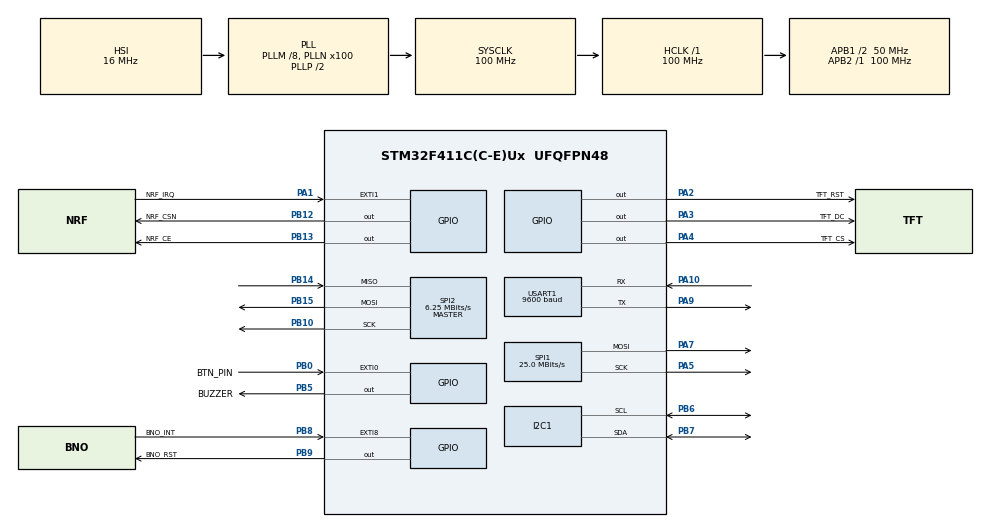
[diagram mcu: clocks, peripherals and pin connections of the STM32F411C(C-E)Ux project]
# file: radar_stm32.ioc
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Dma.Request0=USART1_RX
Dma.USART1_RX.0.Direction=DMA_PERIPH_TO_MEMORY
Dma.USART1_RX.0.FIFOMode=DMA_FIFOMODE_DISABLE
Dma.USART1_RX.0.Instance=DMA2_Stream2
Dma.USART1_RX.0.MemDataAlignment=DMA_MDATAALIGN_BYTE
Dma.USART1_RX.0.MemInc=DMA_MINC_ENABLE
Dma.USART1_RX.0.Mode=DMA_CIRCULAR
Dma.USART1_RX.0.PeriphDataAlignment=DMA_PDATAALIGN_BYTE
Dma.USART1_RX.0.PeriphInc=DMA_PINC_DISABLE
Dma.USART1_RX.0.Priority=DMA_PRIORITY_LOW
FREERTOS.BinarySemaphores01=nrfIrqSem,Dynamic,NULL,Available;bnoIrqSem,Dynamic,NULL,Available
FREERTOS.Mutexes01=dataMutex,Dynamic,NULL,Available
FREERTOS.Tasks01=defaultTask,24,128,StartDefaultTask,Default,NULL,Dynamic,NULL,NULL;GPSTask,24,256,StartGPSTask,Default,NULL,Dynamic,NULL,NULL;NRFTask,32,256,StartNRFTask,Default,NULL,Dynamic,NULL,NULL;DisplayTask,16,512,StartDisplayTask,Default,NULL,Dynamic,NULL,NULL;IMUTask,24,512,StartIMUTask,Default,NULL,Dynamic,NULL,NULL
FREERTOS.configCHECK_FOR_STACK_OVERFLOW=2
FREERTOS.configTOTAL_HEAP_SIZE=20480
FREERTOS.configUSE_NEWLIB_REENTRANT=1
I2C1.I2C_Mode=I2C_Fast
Mcu.Family=STM32F4
Mcu.Name=STM32F411C(C-E)Ux
Mcu.Package=UFQFPN48
NVIC.DMA2_Stream2_IRQn=true\:5\:0\:false\:false\:true\:true\:false\:true\:true
NVIC.EXTI0_IRQn=true\:5\:0\:false\:false\:true\:true\:true\:true\:true
NVIC.EXTI1_IRQn=true\:5\:0\:false\:false\:true\:true\:true\:true\:true
NVIC.EXTI9_5_IRQn=true\:5\:0\:false\:false\:true\:true\:true\:true\:true
NVIC.PriorityGroup=NVIC_PRIORITYGROUP_4
NVIC.TIM1_TRG_COM_TIM11_IRQn=true\:15\:0\:false\:false\:true\:false\:false\:true\:true
NVIC.TimeBase=TIM1_TRG_COM_TIM11_IRQn
NVIC.TimeBaseIP=TIM11
NVIC.USART1_IRQn=true\:5\:0\:false\:false\:true\:true\:true\:true\:true
PA1.GPIO_Label=NRF_IRQ
PA1.GPIO_ModeDefaultEXTI=GPIO_MODE_IT_FALLING
PA1.GPIO_PuPd=GPIO_PULLUP
PA1.Signal=GPXTI1
PA10.Mode=Asynchronous
PA10.Signal=USART1_RX
PA13.Mode=Serial_Wire
PA13.Signal=SYS_JTMS-SWDIO
PA14.Mode=Serial_Wire
PA14.Signal=SYS_JTCK-SWCLK
PA2.GPIO_Label=TFT_RST
PA2.GPIO_Speed=GPIO_SPEED_FREQ_HIGH
PA2.Signal=GPIO_Output
PA3.GPIO_Label=TFT_DC
PA3.GPIO_Speed=GPIO_SPEED_FREQ_HIGH
PA3.Signal=GPIO_Output
PA4.GPIO_Label=TFT_CS
PA4.GPIO_Speed=GPIO_SPEED_FREQ_HIGH
PA4.Signal=GPIO_Output
PA5.Mode=TX_Only_Simplex_Unidirect_Master
PA5.Signal=SPI1_SCK
PA7.Mode=TX_Only_Simplex_Unidirect_Master
PA7.Signal=SPI1_MOSI
PA9.Mode=Asynchronous
PA9.Signal=USART1_TX
PB0.GPIO_Label=BTN_PIN
PB0.GPIO_ModeDefaultEXTI=GPIO_MODE_IT_FALLING
PB0.GPIO_PuPd=GPIO_PULLUP
PB0.Signal=GPXTI0
PB10.Mode=Full_Duplex_Master
PB10.Signal=SPI2_SCK
PB12.GPIO_Label=NRF_CSN
PB12.GPIO_PuPd=GPIO_PULLUP
PB12.GPIO_Speed=GPIO_SPEED_FREQ_HIGH
PB12.PinState=GPIO_PIN_SET
PB12.Signal=GPIO_Output
PB13.GPIO_Label=NRF_CE
PB13.GPIO_PuPd=GPIO_PULLDOWN
PB13.GPIO_Speed=GPIO_SPEED_FREQ_HIGH
PB13.Signal=GPIO_Output
PB14.Mode=Full_Duplex_Master
PB14.Signal=SPI2_MISO
PB15.Mode=Full_Duplex_Master
PB15.Signal=SPI2_MOSI
PB5.GPIO_Label=BUZZER
PB5.GPIO_Speed=GPIO_SPEED_FREQ_HIGH
PB5.PinState=GPIO_PIN_SET
PB5.Signal=GPIO_Output
PB6.Mode=I2C
PB6.Signal=I2C1_SCL
PB7.Mode=I2C
PB7.Signal=I2C1_SDA
PB8.GPIO_Label=BNO_INT
PB8.GPIO_ModeDefaultEXTI=GPIO_MODE_IT_FALLING
PB8.GPIO_PuPd=GPIO_PULLUP
PB8.Signal=GPXTI8
PB9.GPIO_Label=BNO_RST
PB9.GPIO_Speed=GPIO_SPEED_FREQ_HIGH
PB9.PinState=GPIO_PIN_SET
PB9.Signal=GPIO_Output
PH0\ -\ OSC_IN.Mode=HSE-External-Oscillator
PH0\ -\ OSC_IN.Signal=RCC_OSC_IN
PH1\ -\ OSC_OUT.Mode=HSE-External-Oscillator
PH1\ -\ OSC_OUT.Signal=RCC_OSC_OUT
ProjectManager.HeapSize=0x200
ProjectManager.StackSize=0x400
ProjectManager.TargetToolchain=STM32CubeIDE
RCC.48MHZClocksFreq_Value=50000000
RCC.AHBFreq_Value=100000000
RCC.APB1CLKDivider=RCC_HCLK_DIV2
RCC.APB1Freq_Value=50000000
RCC.APB1TimFreq_Value=100000000
RCC.APB2Freq_Value=100000000
RCC.APB2TimFreq_Value=100000000
RCC.CortexFreq_Value=100000000
RCC.HCLKFreq_Value=100000000
RCC.HSE_VALUE=25000000
RCC.HSI_VALUE=16000000
RCC.LSE_VALUE=32768
RCC.PLLM=8
RCC.PLLN=100
RCC.SYSCLKFreq_VALUE=100000000
RCC.SYSCLKSource=RCC_SYSCLKSOURCE_PLLCLK
RCC.VCOOutputFreq_Value=200000000
SPI1.BaudRatePrescaler=SPI_BAUDRATEPRESCALER_4
SPI1.CalculateBaudRate=25.0 MBits/s
SPI1.Direction=SPI_DIRECTION_2LINES
SPI1.Mode=SPI_MODE_MASTER
SPI1.VirtualType=VM_MASTER
SPI2.BaudRatePrescaler=SPI_BAUDRATEPRESCALER_8
SPI2.CalculateBaudRate=6.25 MBits/s
SPI2.Direction=SPI_DIRECTION_2LINES
SPI2.Mode=SPI_MODE_MASTER
SPI2.VirtualType=VM_MASTER
TIM10.Prescaler=99
USART1.BaudRate=9600
USART1.VirtualMode=VM_ASYNC
VP_FREERTOS_VS_CMSIS_V2.Mode=CMSIS_V2
VP_SYS_VS_tim11.Mode=TIM11
VP_TIM10_VS_ClockSourceINT.Mode=Enable_Timer
board=custom

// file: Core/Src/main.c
/* USER CODE BEGIN Header */
/**
  ******************************************************************************
  * @file           : main.c
  * @brief          : Main program body
  ******************************************************************************
  * @attention
  *
  * Copyright (c) 2026 STMicroelectronics.
  * All rights reserved.
  *
  * This software is licensed under terms that can be found in the LICENSE file
  * in the root directory of this software component.
  * If no LICENSE file comes with this software, it is provided AS-IS.
  *
  ******************************************************************************
  */
/* USER CODE END Header */
#include "main.h"
#include "cmsis_os.h"

/* USER CODE BEGIN Includes */
#include <stdio.h>
#include "gc9a01a.h"
#include "DrawInterface.h"
#include "NRF_comm.h"
#include "GPS_run.h"
#include "gps.h"
#include "bno085.h"
#include "compass.h"
#include "Buzzer.h"
/* Lưu ý! math.h, string.h đã được include trong các file.h ở trên */

/* USER CODE END Includes */

/* USER CODE BEGIN PD */

/* chân nút bấm đổi màn hình */
#define PIN_NUT_BAM    PB0

/* USER CODE END PD */

I2C_HandleTypeDef hi2c1;

SPI_HandleTypeDef hspi1;
SPI_HandleTypeDef hspi2;

TIM_HandleTypeDef htim10;

UART_HandleTypeDef huart1;
DMA_HandleTypeDef hdma_usart1_rx;

/* Definitions for defaultTask */
osThreadId_t defaultTaskHandle;
const osThreadAttr_t defaultTask_attributes = {
  .name = "defaultTask",
  .stack_size = 128 * 4,
  .priority = (osPriority_t) osPriorityNormal,
};
/* Definitions for GPSTask */
osThreadId_t GPSTaskHandle;
const osThreadAttr_t GPSTask_attributes = {
  .name = "GPSTask",
  .stack_size = 256 * 4,
  .priority = (osPriority_t) osPriorityNormal,
};
/* Definitions for NRFTask */
osThreadId_t NRFTaskHandle;
const osThreadAttr_t NRFTask_attributes = {
  .name = "NRFTask",
  .stack_size = 256 * 4,
  .priority = (osPriority_t) osPriorityAboveNormal,
};
/* Definitions for DisplayTask */
osThreadId_t DisplayTaskHandle;
const osThreadAttr_t DisplayTask_attributes = {
  .name = "DisplayTask",
  .stack_size = 512 * 4,
  .priority = (osPriority_t) osPriorityBelowNormal,
};
/* Definitions for IMUTask */
osThreadId_t IMUTaskHandle;
const osThreadAttr_t IMUTask_attributes = {
  .name = "IMUTask",
  .stack_size = 512 * 4,
  .priority = (osPriority_t) osPriorityNormal,
};
/* Definitions for dataMutex */
osMutexId_t dataMutexHandle;
const osMutexAttr_t dataMutex_attributes = {
  .name = "dataMutex"
};
/* Definitions for nrfIrqSem */
osSemaphoreId_t nrfIrqSemHandle;
const osSemaphoreAttr_t nrfIrqSem_attributes = {
  .name = "nrfIrqSem"
};
/* Definitions for bnoIrqSem */
osSemaphoreId_t bnoIrqSemHandle;
const osSemaphoreAttr_t bnoIrqSem_attributes = {
  .name = "bnoIrqSem"
};
/* USER CODE BEGIN PV */

extern osSemaphoreId_t nrfIrqSemHandle;   /* ngắt NRF (PA1) báo cho NRFTask   */
extern osMutexId_t     dataMutexHandle;   /* bảo vệ viTriHienTai, HuongDi,
                                             fromESP32, toESP32 (dữ liệu dùng
                                             chung giữa các task) */

/* --- Màn hình TFT --- */
GC9A01A tft;
extern SPI_HandleTypeDef hspi1;

/* --- Nút bấm --- */
volatile uint32_t last_press = 0; /* thời điểm bấm nút lần cuối */

/* --- NRF24: Gói nhận từ Trạm ESP32 --- */
DuLieuNhan fromESP32;

/* --- Vị trí và hướng đi --- */
ToaDo viTriHienTai = {0.0f, 0.0f};   /* vị trí ban đầu */
float HuongDi = 0.0f;  /* hướng ban đầu */

/* --- BNO/ imu --- */
uint8_t imu_ok = 0;
BNO085   imu;

/* USER CODE END PV */

void SystemClock_Config(void);
static void MX_GPIO_Init(void);
static void MX_DMA_Init(void);
static void MX_SPI1_Init(void);
static void MX_SPI2_Init(void);
static void MX_TIM10_Init(void);
static void MX_USART1_UART_Init(void);
static void MX_I2C1_Init(void);
void StartDefaultTask(void *argument);
void StartGPSTask(void *argument);
void StartNRFTask(void *argument);
void StartDisplayTask(void *argument);
void StartIMUTask(void *argument);

/* USER CODE BEGIN 0 */

static void Debug_Print(const char *str) {
   (void)str;
}

/* ---- IMU: đọc BNO085, cập nhật HuongDi */
void IMU_ChayMotVong(void)
{
    uint8_t co = 1;                    /* luôn thử đọc; BNO085_Process tự kiểm tra chân INT */
    BNO085_Process(&imu, &co);

    /* Chưa nhận gói Rotation Vector nào (quaternion còn 0) -> chưa có yaw hợp lệ */
    if (imu.qw == 0.0f && imu.qx == 0.0f && imu.qy == 0.0f && imu.qz == 0.0f) return;

    imu_ok = 1;
    float huong = Compass_GetHeading(&imu);   /* 0..360°, 0 = Bắc */

    osMutexAcquire(dataMutexHandle, osWaitForever);
    HuongDi = huong;
    osMutexRelease(dataMutexHandle);
}

/* USER CODE END 0 */

int main(void)
{

  /* MCU Configuration--------------------------------------------------------*/

  /* Reset of all peripherals, Initializes the Flash interface and the Systick. */
  HAL_Init();

  /* Configure the system clock */
  SystemClock_Config();

  /* Initialize all configured peripherals */
  MX_GPIO_Init();
  MX_DMA_Init();
  MX_SPI1_Init();
  MX_SPI2_Init();
  MX_TIM10_Init();
  MX_USART1_UART_Init();
  MX_I2C1_Init();
  /* USER CODE BEGIN 2 */

  Debug_Print("System Boot\r\n");

  /*Khởi tạo GPS*/
  GPS_Init(&huart1);

  /*Khởi tạo IMU*/
  BNO085_Init(&imu, &hi2c1,
              BNO_INT_GPIO_Port, BNO_INT_Pin,
              BNO_RST_GPIO_Port, BNO_RST_Pin);
  HAL_Delay(200);
  {
      uint32_t t0 = HAL_GetTick();
      uint8_t  co;
      while (HAL_GetTick() - t0 < 1000) {
          co = 1;
          BNO085_Process(&imu, &co);
      }
  }
  /* Chỉ cần Rotation Vector để lấy yaw (BNO tự fusion trong chip) */
  BNO085_EnableRotationVector(&imu, 10000);
  HAL_Delay(100);

  Compass_SetHeadingOffset(80.0f);

  /*Khởi tạo màn hình GC9A01A*/
    GC9A01A_init(&tft, &hspi1,
                 GPIOA, GPIO_PIN_4, // CS
                 GPIOA, GPIO_PIN_3, // DC
                 GPIOA, GPIO_PIN_1, // BLK
                 GPIOA, GPIO_PIN_2  // RST
                 );
    //veNenRadar();
    //canXoaManHinh = 0;

  /*Khởi tạo NRF24*/
  KhoiTao_NRF24();

  /* USER CODE END 2 */

  /* Init scheduler */
  osKernelInitialize();
  /* Create the mutex(es) */
  /* creation of dataMutex */
  dataMutexHandle = osMutexNew(&dataMutex_attributes);

  /* Create the semaphores(s) */
  /* creation of nrfIrqSem */
  nrfIrqSemHandle = osSemaphoreNew(1, 1, &nrfIrqSem_attributes);

  /* creation of bnoIrqSem */
  bnoIrqSemHandle = osSemaphoreNew(1, 1, &bnoIrqSem_attributes);

  /* Create the thread(s) */
  /* creation of defaultTask */
  defaultTaskHandle = osThreadNew(StartDefaultTask, NULL, &defaultTask_attributes);

  /* creation of GPSTask */
  GPSTaskHandle = osThreadNew(StartGPSTask, NULL, &GPSTask_attributes);

  /* creation of NRFTask */
  NRFTaskHandle = osThreadNew(StartNRFTask, NULL, &NRFTask_attributes);

  /* creation of DisplayTask */
  DisplayTaskHandle = osThreadNew(StartDisplayTask, NULL, &DisplayTask_attributes);

  /* creation of IMUTask */
  IMUTaskHandle = osThreadNew(StartIMUTask, NULL, &IMUTask_attributes);

  /* USER CODE BEGIN RTOS_THREADS */
  /* add threads, ... */
  Buzzer_Init();
  /* USER CODE END RTOS_THREADS */

  /* Start scheduler */
  osKernelStart();

  /* We should never get here as control is now taken by the scheduler */

  /* Infinite loop */
  /* USER CODE BEGIN WHILE */
  while (1)
  {
	  //nhờ FREERTOS
    /* USER CODE END WHILE */

  }
}

void SystemClock_Config(void)
{
  RCC_OscInitTypeDef RCC_OscInitStruct = {0};
  RCC_ClkInitTypeDef RCC_ClkInitStruct = {0};

  /** Configure the main internal regulator output voltage
  */
  __HAL_RCC_PWR_CLK_ENABLE();
  __HAL_PWR_VOLTAGESCALING_CONFIG(PWR_REGULATOR_VOLTAGE_SCALE1);

  /** Initializes the RCC Oscillators according to the specified parameters
  * in the RCC_OscInitTypeDef structure.
  */
  RCC_OscInitStruct.OscillatorType = RCC_OSCILLATORTYPE_HSI;
  RCC_OscInitStruct.HSIState = RCC_HSI_ON;
  RCC_OscInitStruct.HSICalibrationValue = RCC_HSICALIBRATION_DEFAULT;
  RCC_OscInitStruct.PLL.PLLState = RCC_PLL_ON;
  RCC_OscInitStruct.PLL.PLLSource = RCC_PLLSOURCE_HSI;
  RCC_OscInitStruct.PLL.PLLM = 8;
  RCC_OscInitStruct.PLL.PLLN = 100;
  RCC_OscInitStruct.PLL.PLLP = RCC_PLLP_DIV2;
  RCC_OscInitStruct.PLL.PLLQ = 4;
  if (HAL_RCC_OscConfig(&RCC_OscInitStruct) != HAL_OK)
  {
    Error_Handler();
  }

  /** Initializes the CPU, AHB and APB buses clocks
  */
  RCC_ClkInitStruct.ClockType = RCC_CLOCKTYPE_HCLK|RCC_CLOCKTYPE_SYSCLK
                              |RCC_CLOCKTYPE_PCLK1|RCC_CLOCKTYPE_PCLK2;
  RCC_ClkInitStruct.SYSCLKSource = RCC_SYSCLKSOURCE_PLLCLK;
  RCC_ClkInitStruct.AHBCLKDivider = RCC_SYSCLK_DIV1;
  RCC_ClkInitStruct.APB1CLKDivider = RCC_HCLK_DIV2;
  RCC_ClkInitStruct.APB2CLKDivider = RCC_HCLK_DIV1;

  if (HAL_RCC_ClockConfig(&RCC_ClkInitStruct, FLASH_LATENCY_3) != HAL_OK)
  {
    Error_Handler();
  }
}

static void MX_I2C1_Init(void)
{

  hi2c1.Instance = I2C1;
  hi2c1.Init.ClockSpeed = 400000;
  hi2c1.Init.DutyCycle = I2C_DUTYCYCLE_2;
  hi2c1.Init.OwnAddress1 = 0;
  hi2c1.Init.AddressingMode = I2C_ADDRESSINGMODE_7BIT;
  hi2c1.Init.DualAddressMode = I2C_DUALADDRESS_DISABLE;
  hi2c1.Init.OwnAddress2 = 0;
  hi2c1.Init.GeneralCallMode = I2C_GENERALCALL_DISABLE;
  hi2c1.Init.NoStretchMode = I2C_NOSTRETCH_DISABLE;
  if (HAL_I2C_Init(&hi2c1) != HAL_OK)
  {
    Error_Handler();
  }

}

static void MX_SPI1_Init(void)
{

  /* SPI1 parameter configuration*/
  hspi1.Instance = SPI1;
  hspi1.Init.Mode = SPI_MODE_MASTER;
  hspi1.Init.Direction = SPI_DIRECTION_2LINES;
  hspi1.Init.DataSize = SPI_DATASIZE_8BIT;
  hspi1.Init.CLKPolarity = SPI_POLARITY_LOW;
  hspi1.Init.CLKPhase = SPI_PHASE_1EDGE;
  hspi1.Init.NSS = SPI_NSS_SOFT;
  hspi1.Init.BaudRatePrescaler = SPI_BAUDRATEPRESCALER_4;
  hspi1.Init.FirstBit = SPI_FIRSTBIT_MSB;
  hspi1.Init.TIMode = SPI_TIMODE_DISABLE;
  hspi1.Init.CRCCalculation = SPI_CRCCALCULATION_DISABLE;
  hspi1.Init.CRCPolynomial = 10;
  if (HAL_SPI_Init(&hspi1) != HAL_OK)
  {
    Error_Handler();
  }

}

static void MX_SPI2_Init(void)
{

  /* SPI2 parameter configuration*/
  hspi2.Instance = SPI2;
  hspi2.Init.Mode = SPI_MODE_MASTER;
  hspi2.Init.Direction = SPI_DIRECTION_2LINES;
  hspi2.Init.DataSize = SPI_DATASIZE_8BIT;
  hspi2.Init.CLKPolarity = SPI_POLARITY_LOW;
  hspi2.Init.CLKPhase = SPI_PHASE_1EDGE;
  hspi2.Init.NSS = SPI_NSS_SOFT;
  hspi2.Init.BaudRatePrescaler = SPI_BAUDRATEPRESCALER_8;
  hspi2.Init.FirstBit = SPI_FIRSTBIT_MSB;
  hspi2.Init.TIMode = SPI_TIMODE_DISABLE;
  hspi2.Init.CRCCalculation = SPI_CRCCALCULATION_DISABLE;
  hspi2.Init.CRCPolynomial = 10;
  if (HAL_SPI_Init(&hspi2) != HAL_OK)
  {
    Error_Handler();
  }

}

static void MX_TIM10_Init(void)
{

  htim10.Instance = TIM10;
  htim10.Init.Prescaler = 99;
  htim10.Init.CounterMode = TIM_COUNTERMODE_UP;
  htim10.Init.Period = 65535;
  htim10.Init.ClockDivision = TIM_CLOCKDIVISION_DIV1;
  htim10.Init.AutoReloadPreload = TIM_AUTORELOAD_PRELOAD_DISABLE;
  if (HAL_TIM_Base_Init(&htim10) != HAL_OK)
  {
    Error_Handler();
  }

}

static void MX_USART1_UART_Init(void)
{

  huart1.Instance = USART1;
  huart1.Init.BaudRate = 9600;
  huart1.Init.WordLength = UART_WORDLENGTH_8B;
  huart1.Init.StopBits = UART_STOPBITS_1;
  huart1.Init.Parity = UART_PARITY_NONE;
  huart1.Init.Mode = UART_MODE_TX_RX;
  huart1.Init.HwFlowCtl = UART_HWCONTROL_NONE;
  huart1.Init.OverSampling = UART_OVERSAMPLING_16;
  if (HAL_UART_Init(&huart1) != HAL_OK)
  {
    Error_Handler();
  }

}

static void MX_DMA_Init(void)
{

  /* DMA controller clock enable */
  __HAL_RCC_DMA2_CLK_ENABLE();

  /* DMA interrupt init */
  /* DMA2_Stream2_IRQn interrupt configuration */
  HAL_NVIC_SetPriority(DMA2_Stream2_IRQn, 5, 0);
  HAL_NVIC_EnableIRQ(DMA2_Stream2_IRQn);

}

static void MX_GPIO_Init(void)
{
  GPIO_InitTypeDef GPIO_InitStruct = {0};

  /* GPIO Ports Clock Enable */
  __HAL_RCC_GPIOH_CLK_ENABLE();
  __HAL_RCC_GPIOA_CLK_ENABLE();
  __HAL_RCC_GPIOB_CLK_ENABLE();

  /*Configure GPIO pin Output Level */
  HAL_GPIO_WritePin(GPIOA, TFT_RST_Pin|TFT_DC_Pin|TFT_CS_Pin, GPIO_PIN_RESET);

  /*Configure GPIO pin Output Level */
  HAL_GPIO_WritePin(GPIOB, NRF_CSN_Pin|BUZZER_Pin|BNO_RST_Pin, GPIO_PIN_SET);

  /*Configure GPIO pin Output Level */
  HAL_GPIO_WritePin(NRF_CE_GPIO_Port, NRF_CE_Pin, GPIO_PIN_RESET);

  /*Configure GPIO pin : NRF_IRQ_Pin */
  GPIO_InitStruct.Pin = NRF_IRQ_Pin;
  GPIO_InitStruct.Mode = GPIO_MODE_IT_FALLING;
  GPIO_InitStruct.Pull = GPIO_PULLUP;
  HAL_GPIO_Init(NRF_IRQ_GPIO_Port, &GPIO_InitStruct);

  /*Configure GPIO pins : TFT_RST_Pin TFT_DC_Pin TFT_CS_Pin */
  GPIO_InitStruct.Pin = TFT_RST_Pin|TFT_DC_Pin|TFT_CS_Pin;
  GPIO_InitStruct.Mode = GPIO_MODE_OUTPUT_PP;
  GPIO_InitStruct.Pull = GPIO_NOPULL;
  GPIO_InitStruct.Speed = GPIO_SPEED_FREQ_HIGH;
  HAL_GPIO_Init(GPIOA, &GPIO_InitStruct);

  /*Configure GPIO pins : BTN_PIN_Pin BNO_INT_Pin */
  GPIO_InitStruct.Pin = BTN_PIN_Pin|BNO_INT_Pin;
  GPIO_InitStruct.Mode = GPIO_MODE_IT_FALLING;
  GPIO_InitStruct.Pull = GPIO_PULLUP;
  HAL_GPIO_Init(GPIOB, &GPIO_InitStruct);

  /*Configure GPIO pin : NRF_CSN_Pin */
  GPIO_InitStruct.Pin = NRF_CSN_Pin;
  GPIO_InitStruct.Mode = GPIO_MODE_OUTPUT_PP;
  GPIO_InitStruct.Pull = GPIO_PULLUP;
  GPIO_InitStruct.Speed = GPIO_SPEED_FREQ_HIGH;
  HAL_GPIO_Init(NRF_CSN_GPIO_Port, &GPIO_InitStruct);

  /*Configure GPIO pin : NRF_CE_Pin */
  GPIO_InitStruct.Pin = NRF_CE_Pin;
  GPIO_InitStruct.Mode = GPIO_MODE_OUTPUT_PP;
  GPIO_InitStruct.Pull = GPIO_PULLDOWN;
  GPIO_InitStruct.Speed = GPIO_SPEED_FREQ_HIGH;
  HAL_GPIO_Init(NRF_CE_GPIO_Port, &GPIO_InitStruct);

  /*Configure GPIO pins : BUZZER_Pin BNO_RST_Pin */
  GPIO_InitStruct.Pin = BUZZER_Pin|BNO_RST_Pin;
  GPIO_InitStruct.Mode = GPIO_MODE_OUTPUT_PP;
  GPIO_InitStruct.Pull = GPIO_NOPULL;
  GPIO_InitStruct.Speed = GPIO_SPEED_FREQ_HIGH;
  HAL_GPIO_Init(GPIOB, &GPIO_InitStruct);

  /* EXTI interrupt init*/
  HAL_NVIC_SetPriority(EXTI0_IRQn, 5, 0);
  HAL_NVIC_EnableIRQ(EXTI0_IRQn);

  HAL_NVIC_SetPriority(EXTI1_IRQn, 5, 0);
  HAL_NVIC_EnableIRQ(EXTI1_IRQn);

  HAL_NVIC_SetPriority(EXTI9_5_IRQn, 5, 0);
  HAL_NVIC_EnableIRQ(EXTI9_5_IRQn);

}

/* USER CODE BEGIN 4 */

/* Xử lý ngắt ngoài: nút bấm (PB0) và NRF24 (PA1) */
void HAL_GPIO_EXTI_Callback(uint16_t GPIO_Pin)
{
	/*--- Nút bấm (PB0): Đổi giao diện ---*/
    if (GPIO_Pin == GPIO_PIN_0)
    {
        uint32_t curr_time = HAL_GetTick();
        if (curr_time - last_press > 150)
        {
            if (manHinhHienTai == SCREEN_RADAR) {
                manHinhHienTai = SCREEN_MESSAGE;
            } else {
                manHinhHienTai = SCREEN_RADAR;
            }
            last_press = curr_time;
            Buzzer_Play(BUZ_CLICK); // còi PB5 kêu khi click nút
        }
    }

    // ---NRF24 (PA1): đọc trạng thái và xử lý ---
    if (GPIO_Pin == GPIO_PIN_1)
    {
        if (nrfIrqSemHandle != NULL)            /* ngắt có thể tới trước khi
                                                   kernel kịp tạo semaphore */
            osSemaphoreRelease(nrfIrqSemHandle);/* gọi được từ ISR (CMSIS-V2) */
    }

    // --- BNO085 (BNO_INT): báo cho IMUTask ---
       if (GPIO_Pin == BNO_INT_Pin)
       {
           if (bnoIrqSemHandle != NULL)
               osSemaphoreRelease(bnoIrqSemHandle);
       }

}
/* USER CODE END 4 */

void StartDefaultTask(void *argument)
{
  for(;;)
  {
	    osDelay(1);
  }
}

void StartGPSTask(void *argument)
{
  /* USER CODE BEGIN StartGPSTask */
  /* Infinite loop */
  for(;;)
  {
	    GPS_ChayMotVong();         /* đọc DMA + parse NMEA, mỗi 1 s cập nhật vị trí */
	    osDelay(20);               /* GPS 9600 baud ≈ 960 B/s, 20 ms là dư */

  }
  /* USER CODE END StartGPSTask */
}

void StartNRFTask(void *argument)
{
  /* USER CODE BEGIN StartNRFTask */
  /* Infinite loop */
  for(;;)
  {
	    /* chờ ngắt PA1 tối đa 20 ms; có ngắt -> xử lý cờ TX_DS/RX_DR/MAX_RT */
	    if (osSemaphoreAcquire(nrfIrqSemHandle, 20) == osOK)
	    {
	      NRF_XuLyNgat();
	    }
	    NRF_GuiDinhKy();           /* bên trong tự kiểm tra: chỉ gửi mỗi 200 ms */
  }
  /* USER CODE END StartNRFTask */
}

void StartDisplayTask(void *argument)
{
  /* USER CODE BEGIN StartDisplayTask */
  uint32_t next = osKernelGetTickCount();
  /* Infinite loop */

  for(;;)
  {
	    Display_ChayMotVong();
	    next += 500;               /* chu kỳ cố định 500 ms (1 tick = 1 ms) */
	    osDelayUntil(next);

  }
  /* USER CODE END StartDisplayTask */
}

void StartIMUTask(void *argument)
{
  /* USER CODE BEGIN StartIMUTask */
  /* Infinite loop */
  for(;;)
  {
	  osSemaphoreAcquire(bnoIrqSemHandle, 50);  /* chờ INT, tối đa 50 ms (dự phòng nếu lỡ cạnh xuống) */
	  IMU_ChayMotVong();
  }
  /* USER CODE END StartIMUTask */
}

void HAL_TIM_PeriodElapsedCallback(TIM_HandleTypeDef *htim)
{
  if (htim->Instance == TIM11)
  {
    HAL_IncTick();
  }
}

void Error_Handler(void)
{
  __disable_irq();
  while (1)
  {
  }
}

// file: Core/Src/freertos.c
/* USER CODE BEGIN Header */
/**
  ******************************************************************************
  * File Name          : freertos.c
  * Description        : Code for freertos applications
  ******************************************************************************
  * @attention
  *
  * Copyright (c) 2026 STMicroelectronics.
  * All rights reserved.
  *
  * This software is licensed under terms that can be found in the LICENSE file
  * in the root directory of this software component.
  * If no LICENSE file comes with this software, it is provided AS-IS.
  *
  ******************************************************************************
  */
/* USER CODE END Header */

#include "FreeRTOS.h"
#include "task.h"
#include "main.h"

/* USER CODE BEGIN Includes */
#include "cmsis_os.h"
/* USER CODE END Includes */

/* Hook prototypes */
void vApplicationStackOverflowHook(xTaskHandle xTask, signed char *pcTaskName);

/* USER CODE BEGIN 4 */
void vApplicationStackOverflowHook(xTaskHandle xTask, signed char *pcTaskName)
{
   /* Run time stack overflow checking is performed if
   configCHECK_FOR_STACK_OVERFLOW is defined to 1 or 2. This hook function is
   called if a stack overflow is detected. */
}
/* USER CODE END 4 */
